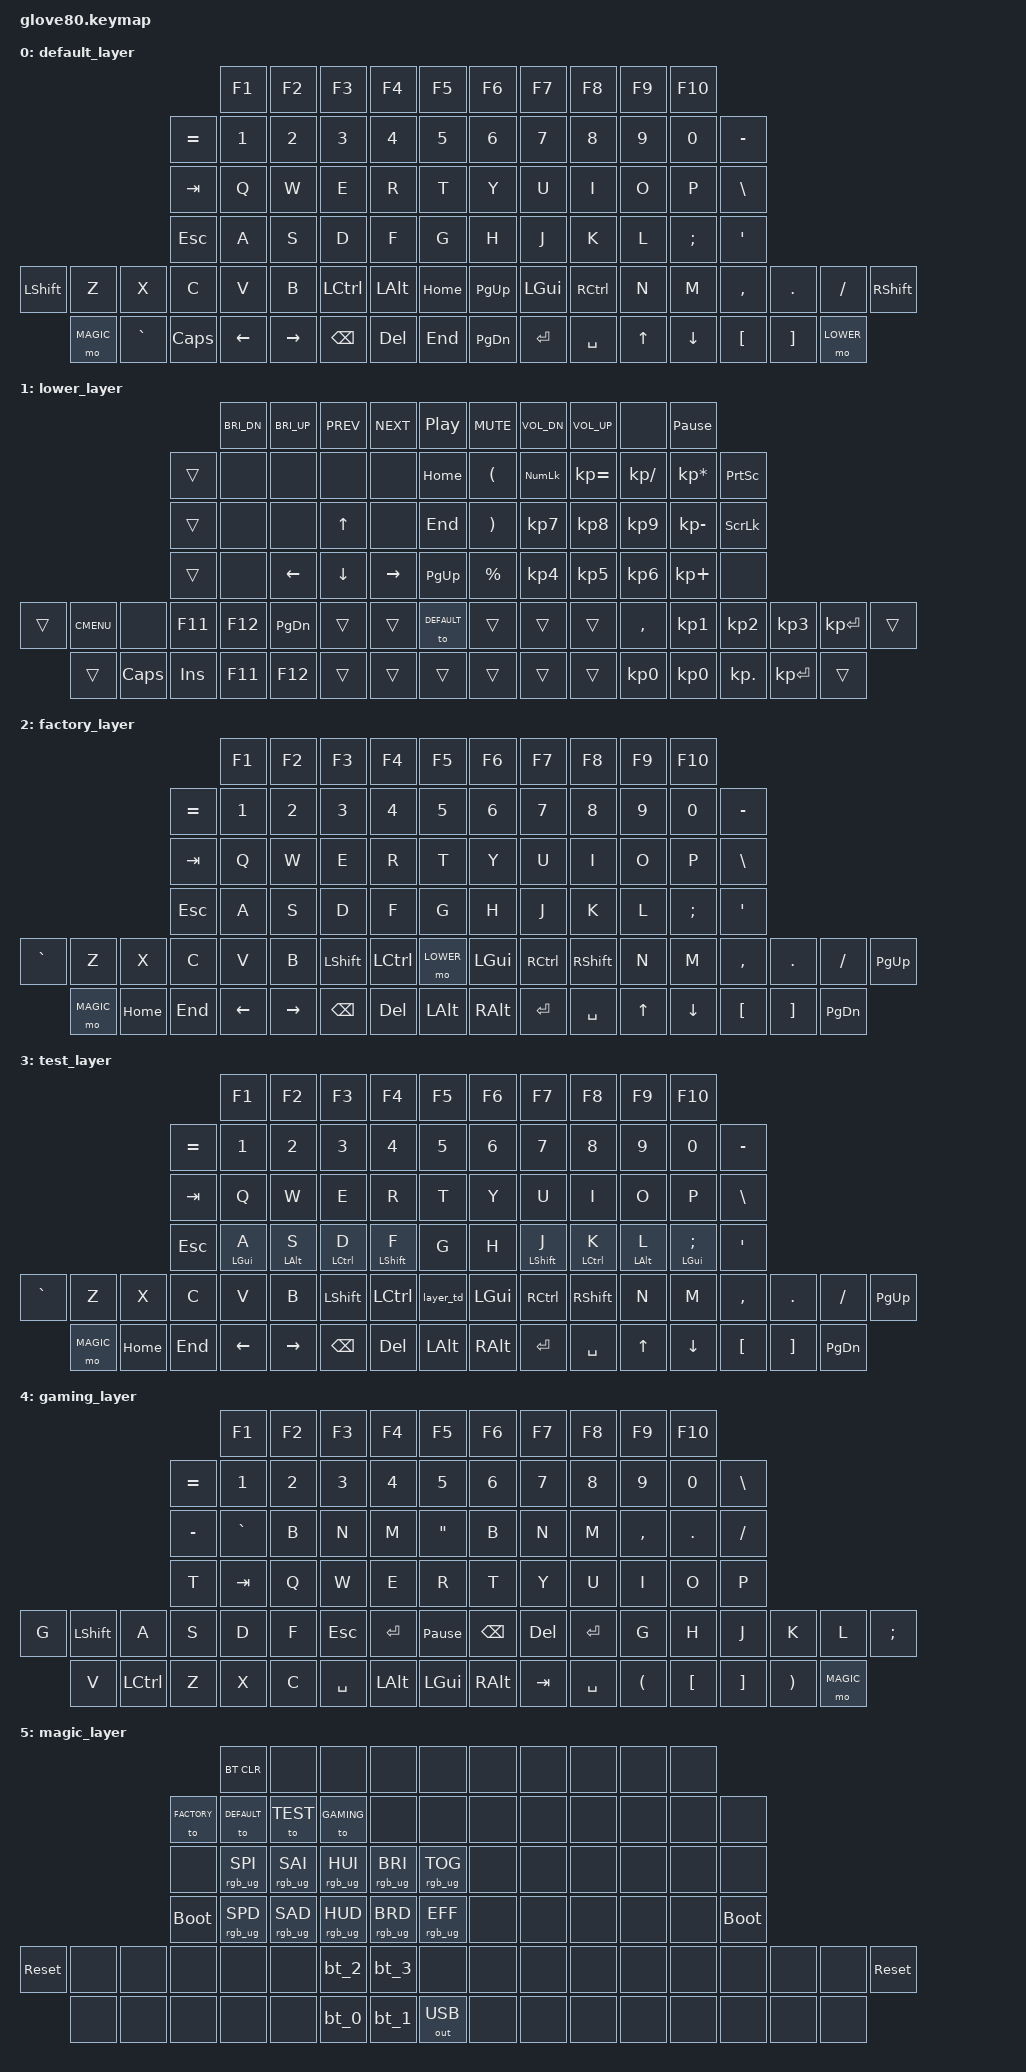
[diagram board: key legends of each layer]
/*
* Copyright (c) 2020 The ZMK Contributors
*
* SPDX-License-Identifier: MIT
*/

#include <behaviors.dtsi>
#include <dt-bindings/zmk/keys.h>
#include <dt-bindings/zmk/bt.h>
#include <dt-bindings/zmk/ext_power.h>
#include <dt-bindings/zmk/outputs.h>
#include <dt-bindings/zmk/rgb.h>

// layers
#define DEFAULT    0
#define LOWER      1
#define FACTORY    2
#define TEST       3
#define GAMING     4
#define MAGIC      5


/ {
	behaviors {
		// For the "layer" key, it'd nice to be able to use it as either a shift or a toggle.
		// Configure it as a tap dance, so the first tap (or hold) is a &mo and the second tap is a &to
		layer_td: tap_dance_0 {
			compatible = "zmk,behavior-tap-dance";
			#binding-cells = <0>;
			tapping-term-ms = <200>;
			bindings = <&mo LOWER>, <&to LOWER>;
		};
		
		lh_pht: left_positional_hold_tap {
			compatible = "zmk,behavior-hold-tap";
			#binding-cells = <2>;
			flavor = "tap-preferred";
			tapping-term-ms = <150>;// <---[[produces tap if held longer than tapping-term-ms]]
			quick-tap-ms = <200>;
			bindings = <&kp>, <&kp>;
			require-prior-idle-ms = <100>;
		};
		
		rh_pht: right_positional_hold_tap {
			compatible = "zmk,behavior-hold-tap";
			#binding-cells = <2>;
			flavor = "tap-preferred";
			tapping-term-ms = <150>;// <---[[produces tap if held longer than tapping-term-ms]]
			quick-tap-ms = <200>;
			bindings = <&kp>, <&kp>;
			require-prior-idle-ms = <100>;
		};
	};
	
	combos {
		compatible = "zmk,combos";
		combo_tab {
			timeout-ms = <50>;
			key-positions = <24 25>;// W + E
			bindings = <&kp ESC>;
		};
	};
	
	
	macros {
		bt_0: bt_profile_macro_0 {
			compatible = "zmk,behavior-macro";
			#binding-cells = <0>;
			bindings
			= <&out OUT_BLE>,
			<&bt BT_SEL 0>;
		};
		
		bt_1: bt_profile_macro_1 {
			compatible = "zmk,behavior-macro";
			#binding-cells = <0>;
			bindings
			= <&out OUT_BLE>,
			<&bt BT_SEL 1>;
		};
		
		bt_2: bt_profile_macro_2 {
			compatible = "zmk,behavior-macro";
			#binding-cells = <0>;
			bindings
			= <&out OUT_BLE>,
			<&bt BT_SEL 2>;
		};
		
		bt_3: bt_profile_macro_3 {
			compatible = "zmk,behavior-macro";
			#binding-cells = <0>;
			bindings
			= <&out OUT_BLE>,
			<&bt BT_SEL 3>;
		};
	};
	
	keymap {
		compatible = "zmk,keymap";
		
		default_layer {
			// kinesis-like layout
			
			bindings = <
			&kp F1 &kp F2 &kp F3 &kp F4 &kp F5 &kp F6 &kp F7 &kp F8 &kp F9 &kp F10
			&kp EQUAL &kp N1 &kp N2 &kp N3 &kp N4 &kp N5 &kp N6 &kp N7 &kp N8 &kp N9 &kp N0 &kp MINUS
			&kp TAB &kp Q &kp W &kp E &kp R &kp T &kp Y &kp U &kp I &kp O &kp P &kp BSLH
			&kp ESC &kp A &kp S &kp D &kp F &kp G &kp H &kp J &kp K &kp L &kp SEMI &kp SQT
			&kp LSHFT &kp Z &kp X &kp C &kp V &kp B &kp LCTRL &kp LALT &kp HOME &kp PG_UP &kp LGUI &kp RCTRL &kp N &kp M &kp COMMA &kp DOT &kp FSLH &kp RSHFT
			&mo MAGIC &kp GRAVE &kp CAPSLOCK &kp LEFT &kp RIGHT &kp BSPC &kp DEL &kp END &kp PG_DN &kp RET &kp SPACE &kp UP &kp DOWN &kp LBKT &kp RBKT &mo LOWER
			>;
		};
		
		lower_layer {
			bindings = <
			&kp C_BRI_DN &kp C_BRI_UP &kp C_PREV &kp C_NEXT &kp C_PP &kp C_MUTE &kp C_VOL_DN &kp C_VOL_UP &none &kp PAUSE_BREAK
			&trans &none &none &none &none &kp HOME &kp LPAR &kp KP_NUM &kp KP_EQUAL &kp KP_DIVIDE &kp KP_MULTIPLY &kp PSCRN
			&trans &none &none &kp UP &none &kp END &kp RPAR &kp KP_N7 &kp KP_N8 &kp KP_N9 &kp KP_MINUS &kp SLCK
			&trans &none &kp LEFT &kp DOWN &kp RIGHT &kp PG_UP &kp PRCNT &kp KP_N4 &kp KP_N5 &kp KP_N6 &kp KP_PLUS &none
			&trans &kp K_CMENU &none &kp F11 &kp F12 &kp PG_DN &trans &trans &to DEFAULT &trans &trans &trans &kp COMMA &kp KP_N1 &kp KP_N2 &kp KP_N3 &kp KP_ENTER &trans
			&trans &kp CAPS &kp INS &kp F11 &kp F12 &trans &trans &trans &trans &trans &trans &kp KP_N0 &kp KP_N0 &kp KP_DOT &kp KP_ENTER &trans
			>;
		};
		
		factory_layer {
			bindings = <
			&kp F1 &kp F2 &kp F3 &kp F4 &kp F5 &kp F6 &kp F7 &kp F8 &kp F9 &kp F10
			&kp EQUAL &kp N1 &kp N2 &kp N3 &kp N4 &kp N5 &kp N6 &kp N7 &kp N8 &kp N9 &kp N0 &kp MINUS
			&kp TAB &kp Q &kp W &kp E &kp R &kp T &kp Y &kp U &kp I &kp O &kp P &kp BSLH
			&kp ESC &kp A &kp S &kp D &kp F &kp G &kp H &kp J &kp K &kp L &kp SEMI &kp SQT
			&kp GRAVE &kp Z &kp X &kp C &kp V &kp B &kp LSHFT &kp LCTRL &mo LOWER &kp LGUI &kp RCTRL &kp RSHFT &kp N &kp M &kp COMMA &kp DOT &kp FSLH &kp PG_UP
			&mo MAGIC &kp HOME &kp END &kp LEFT &kp RIGHT &kp BSPC &kp DEL &kp LALT &kp RALT &kp RET &kp SPACE &kp UP &kp DOWN &kp LBKT &kp RBKT &kp PG_DN
			>;
		};
		
		test_layer {
			bindings = <
			// R1C1
			&kp F1 &kp F2 &kp F3 &kp F4 &kp F5 &kp F6 &kp F7 &kp F8 &kp F9 &kp F10
			// Row 1 RH
			&kp EQUAL &kp N1 &kp N2 &kp N3 &kp N4 &kp N5 &kp N6 &kp N7 &kp N8 &kp N9 &kp N0 &kp MINUS
			// Row 2 LH
			&kp TAB &kp Q &kp W &kp E &kp R &kp T &kp Y &kp U &kp I &kp O &kp P &kp BSLH
			&kp ESC &lh_pht LGUI A &lh_pht LALT S &lh_pht LCTRL D &lh_pht LSHIFT F &kp G &kp H &rh_pht LSHIFT J &rh_pht LCTRL K &rh_pht LALT L &rh_pht LGUI SEMI &kp SQT
			&kp GRAVE &kp Z &kp X &kp C &kp V &kp B &kp LSHFT &kp LCTRL &layer_td &kp LGUI &kp RCTRL &kp RSHFT &kp N &kp M &kp COMMA &kp DOT &kp FSLH &kp PG_UP
			&mo MAGIC &kp HOME &kp END &kp LEFT &kp RIGHT &kp BSPC &kp DEL &kp LALT &kp RALT &kp RET &kp SPACE &kp UP &kp DOWN &kp LBKT &kp RBKT &kp PG_DN
			>;
		};
		
		gaming_layer {
			bindings = <
			&kp F1 &kp F2 &kp F3 &kp F4 &kp F5 &kp F6 &kp F7 &kp F8 &kp F9 &kp F10
			&kp EQUAL &kp N1 &kp N2 &kp N3 &kp N4 &kp N5 &kp N6 &kp N7 &kp N8 &kp N9 &kp N0 &kp BSLH
			&kp MINUS &kp GRAVE &kp B &kp N &kp M &kp DQT &kp B &kp N &kp M &kp COMMA &kp PERIOD &kp SLASH
			&kp T &kp TAB &kp Q &kp W &kp E &kp R &kp T &kp Y &kp U &kp I &kp O &kp P
			&kp G &kp LSHFT &kp A &kp S &kp D &kp F &kp ESC &kp ENTER &kp PAUSE_BREAK &kp BSPC &kp DEL &kp ENTER &kp G &kp H &kp J &kp K &kp L &kp SEMI
			&kp V &kp LCTRL &kp Z &kp X &kp C &kp SPACE &kp LALT &kp LGUI &kp RALT &kp TAB &kp SPACE &kp LPAR &kp LBKT &kp RBKT &kp RPAR &mo MAGIC
			>;
		};
		
		magic_layer {
			bindings = <
			&bt BT_CLR &none &none &none &none &none &none &none &none &none
			&to FACTORY &to DEFAULT &to TEST &to GAMING &none &none &none &none &none &none &none &none
			&none &rgb_ug RGB_SPI &rgb_ug RGB_SAI &rgb_ug RGB_HUI &rgb_ug RGB_BRI &rgb_ug RGB_TOG &none &none &none &none &none &none
			&bootloader &rgb_ug RGB_SPD &rgb_ug RGB_SAD &rgb_ug RGB_HUD &rgb_ug RGB_BRD &rgb_ug RGB_EFF &none &none &none &none &none &bootloader
			&sys_reset &none &none &none &none &none &bt_2 &bt_3 &none &none &none &none &none &none &none &none &none &sys_reset
			&none &none &none &none &none &bt_0 &bt_1 &out OUT_USB &none &none &none &none &none &none &none &none
			>;
		};
	};
};
